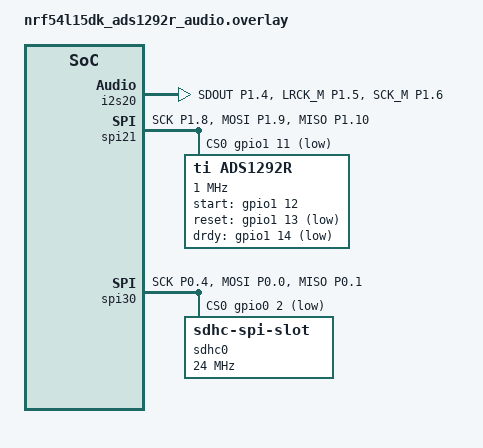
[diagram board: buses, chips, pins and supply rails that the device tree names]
#include <zephyr/dt-bindings/gpio/gpio.h>
#include <zephyr/dt-bindings/pinctrl/nrf-pinctrl.h>

/*
 * Combined ADS1292R + MAX98357A audio + MicroSD wiring for the Nordic
 * nRF54L15 DK. Configure the DK target voltage to 3V3 before connecting
 * external logic.
 *
 * ADS1292R:
 *   ADS SCK        -> P1.08
 *   ADS DIN/MOSI   -> P1.09
 *   ADS DOUT/MISO  -> P1.10
 *   ADS CS         -> P1.11
 *   ADS START      -> P1.12
 *   ADS PWDN/RESET -> P1.13
 *   ADS DRDY       -> P1.14
 *
 * MAX98357A:
 *   DIN            -> P1.04
 *   LRC / WS       -> P1.05
 *   BCLK           -> P1.06
 *
 * MicroSD:
 *   SCK            -> P0.04
 *   MOSI           -> P0.00
 *   MISO           -> P0.01
 *   CS             -> P0.02
 */

/ {
    aliases {
        i2s-tx = &i2s20;
    };
};

&gpio0 { status = "okay"; };
&gpio1 { status = "okay"; };
&gpiote20 { status = "okay"; };
&gpiote30 { status = "okay"; };
&clock { status = "okay"; };

/*
 * UART20 uses P1.04-P1.07 on the DK. Disable it so I2S can use
 * P1.04-P1.06; use RTT for console output with this overlay.
 */
&uart20 { status = "disabled"; };

/* DK functions sharing selected ADS pins. */
&button0 { status = "disabled"; };  /* P1.13 / ADS PWDN/RESET */
&button1 { status = "disabled"; };  /* P1.09 / ADS DIN/MOSI */
&button2 { status = "disabled"; };  /* P1.08 / ADS SCK */
&led1 { status = "disabled"; };     /* P1.10 / ADS DOUT/MISO */
&led3 { status = "disabled"; };     /* P1.14 / ADS DRDY */
&pwm20 { status = "disabled"; };

/* P0 pins used for SD SPI. */
&button3 { status = "disabled"; };  /* P0.04 / SD SCK */
&i2c30 { status = "disabled"; };
&uart30 { status = "disabled"; };

/* spi21 shares this serial block with i2c21/uart21. Keep the owner explicit. */
&i2c21 { status = "disabled"; };
&uart21 { status = "disabled"; };

&pinctrl {
    audio_i2s20_default: audio_i2s20_default {
        group1 {
            psels = <NRF_PSEL(I2S_SDOUT, 1, 4)>,
                    <NRF_PSEL(I2S_LRCK_M, 1, 5)>,
                    <NRF_PSEL(I2S_SCK_M, 1, 6)>;
        };
    };

    audio_i2s20_sleep: audio_i2s20_sleep {
        group1 {
            psels = <NRF_PSEL(I2S_SDOUT, 1, 4)>,
                    <NRF_PSEL(I2S_LRCK_M, 1, 5)>,
                    <NRF_PSEL(I2S_SCK_M, 1, 6)>;
            low-power-enable;
        };
    };

    ads_spi_default: ads_spi_default {
        group1 {
            psels = <NRF_PSEL(SPIM_SCK, 1, 8)>,
                    <NRF_PSEL(SPIM_MOSI, 1, 9)>;
        };
        group2 {
            psels = <NRF_PSEL(SPIM_MISO, 1, 10)>;
            bias-pull-up;
        };
    };

    ads_spi_sleep: ads_spi_sleep {
        group1 {
            psels = <NRF_PSEL(SPIM_SCK, 1, 8)>,
                    <NRF_PSEL(SPIM_MOSI, 1, 9)>,
                    <NRF_PSEL(SPIM_MISO, 1, 10)>;
            low-power-enable;
        };
    };

    audio_sd_spi30_default: audio_sd_spi30_default {
        group1 {
            psels = <NRF_PSEL(SPIM_SCK, 0, 4)>,
                    <NRF_PSEL(SPIM_MOSI, 0, 0)>;
        };
        group2 {
            psels = <NRF_PSEL(SPIM_MISO, 0, 1)>;
            bias-pull-up;
        };
    };

    audio_sd_spi30_sleep: audio_sd_spi30_sleep {
        group1 {
            psels = <NRF_PSEL(SPIM_SCK, 0, 4)>,
                    <NRF_PSEL(SPIM_MOSI, 0, 0)>,
                    <NRF_PSEL(SPIM_MISO, 0, 1)>;
            low-power-enable;
        };
    };
};

&i2s20 {
    status = "okay";
    pinctrl-0 = <&audio_i2s20_default>;
    pinctrl-1 = <&audio_i2s20_sleep>;
    pinctrl-names = "default", "sleep";
};

&spi21 {
    status = "okay";
    pinctrl-0 = <&ads_spi_default>;
    pinctrl-1 = <&ads_spi_sleep>;
    pinctrl-names = "default", "sleep";
    cs-gpios = <&gpio1 11 GPIO_ACTIVE_LOW>;

    ads1292r: adc@0 {
        compatible = "ti,ads1292r";
        reg = <0>;
        spi-max-frequency = <1000000>;
        spi-cpha;
        cs-gpios = <&gpio1 11 GPIO_ACTIVE_LOW>;
        start-gpios = <&gpio1 12 GPIO_ACTIVE_HIGH>;
        reset-gpios = <&gpio1 13 GPIO_ACTIVE_LOW>;
        drdy-gpios = <&gpio1 14 GPIO_ACTIVE_LOW>;
    };
};

&spi30 {
    status = "okay";
    cs-gpios = <&gpio0 2 GPIO_ACTIVE_LOW>;
    pinctrl-0 = <&audio_sd_spi30_default>;
    pinctrl-1 = <&audio_sd_spi30_sleep>;
    pinctrl-names = "default", "sleep";

    sdhc0: sdhc@0 {
        compatible = "zephyr,sdhc-spi-slot";
        reg = <0>;
        status = "okay";
        spi-max-frequency = <24000000>;
        power-delay-ms = <100>;

        mmc {
            compatible = "zephyr,sdmmc-disk";
            disk-name = "SD";
            status = "okay";
        };
    };
};
